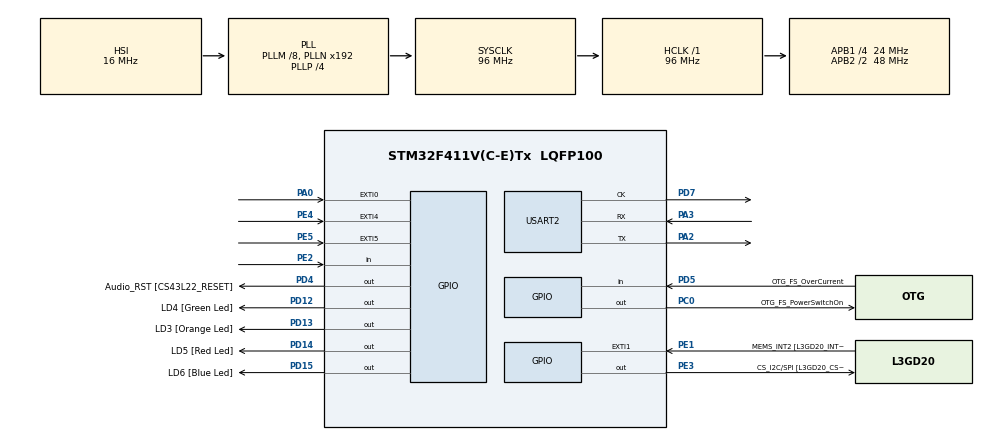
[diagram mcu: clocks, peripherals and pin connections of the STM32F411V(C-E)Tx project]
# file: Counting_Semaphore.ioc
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Mcu.Family=STM32F4
Mcu.Name=STM32F411V(C-E)Tx
Mcu.Package=LQFP100
NVIC.PriorityGroup=NVIC_PRIORITYGROUP_4
NVIC.TIM1_UP_TIM10_IRQn=true\:15\:0\:false\:false\:true\:false\:true\:true
NVIC.TimeBase=TIM1_UP_TIM10_IRQn
NVIC.TimeBaseIP=TIM10
PA0-WKUP.GPIO_ModeDefaultEXTI=GPIO_MODE_EVT_RISING
PA0-WKUP.Signal=GPXTI0
PA10.GPIO_Label=OTG_FS_ID
PA10.Signal=USB_OTG_FS_ID
PA11.GPIO_Label=OTG_FS_DM
PA11.Signal=USB_OTG_FS_DM
PA12.GPIO_Label=OTG_FS_DP
PA12.Signal=USB_OTG_FS_DP
PA13.GPIO_Label=SWDIO
PA13.Signal=SYS_JTMS-SWDIO
PA14.GPIO_Label=SWCLK
PA14.Signal=SYS_JTCK-SWCLK
PA2.Mode=Synchronous
PA2.Signal=USART2_TX
PA3.Mode=Synchronous
PA3.Signal=USART2_RX
PA4.GPIO_Label=I2S3_WS [CS43L22_LRCK]
PA4.GPIO_Mode=GPIO_MODE_AF_PP
PA4.GPIO_PuPd=GPIO_NOPULL
PA4.GPIO_Speed=GPIO_SPEED_FREQ_LOW
PA4.Signal=I2S3_WS
PA5.GPIO_Label=SPI1_SCK [L3GD20_SC/SPC]
PA5.Signal=SPI1_SCK
PA6.GPIO_Label=SPI1_MISO [L3GD20_AS0/SDO]
PA6.Signal=SPI1_MISO
PA7.GPIO_Label=SPI1_MOSI [L3GD20_SDA/SDI/SDO]
PA7.Signal=SPI1_MOSI
PA9.GPIO_Label=VBUS_FS
PA9.Signal=USB_OTG_FS_VBUS
PB10.GPIO_Label=CLK_IN [MP45DT02_CLK]
PB10.Signal=I2S2_CK
PB12.Signal=I2S2_WS
PB3.GPIO_Label=SWO
PB3.Signal=SYS_JTDO-SWO
PB6.GPIO_Label=Audio_SCL [CS43L22_SCL]
PB6.GPIO_Mode=GPIO_MODE_AF_OD
PB6.GPIO_PuPd=GPIO_NOPULL
PB6.GPIO_Speed=GPIO_SPEED_FREQ_LOW
PB6.Signal=I2C1_SCL
PB9.GPIO_Label=Audio_SDA [CS43L22_SDA]
PB9.GPIO_Mode=GPIO_MODE_AF_OD
PB9.GPIO_PuPd=GPIO_NOPULL
PB9.GPIO_Speed=GPIO_SPEED_FREQ_LOW
PB9.Signal=I2C1_SDA
PC0.GPIO_Label=OTG_FS_PowerSwitchOn
PC0.PinState=GPIO_PIN_SET
PC0.Signal=GPIO_Output
PC10.GPIO_Label=I2S3_SCK [CS43L22_SCLK]
PC10.GPIO_Mode=GPIO_MODE_AF_PP
PC10.GPIO_PuPd=GPIO_NOPULL
PC10.GPIO_Speed=GPIO_SPEED_FREQ_LOW
PC10.Signal=I2S3_CK
PC12.GPIO_Label=I2S3_SD [CS43L22_SDIN]
PC12.GPIO_Mode=GPIO_MODE_AF_PP
PC12.GPIO_PuPd=GPIO_NOPULL
PC12.GPIO_Speed=GPIO_SPEED_FREQ_LOW
PC12.Signal=I2S3_SD
PC14-OSC32_IN.GPIO_Label=PC14-OSC32_IN
PC14-OSC32_IN.Signal=RCC_OSC32_IN
PC15-OSC32_OUT.GPIO_Label=PC15-OSC32_OUT
PC15-OSC32_OUT.Signal=RCC_OSC32_OUT
PC3.GPIO_Label=PDM_OUT [MP45DT02_DOUT]
PC3.Signal=I2S2_SD
PC7.GPIO_Label=I2S3_MCK [CS43L22_MCLK]
PC7.GPIO_Mode=GPIO_MODE_AF_PP
PC7.GPIO_PuPd=GPIO_NOPULL
PC7.GPIO_Speed=GPIO_SPEED_FREQ_LOW
PC7.Signal=I2S3_MCK
PD12.GPIO_Label=LD4 [Green Led]
PD12.GPIO_PuPd=GPIO_NOPULL
PD12.GPIO_Speed=GPIO_SPEED_FREQ_LOW
PD12.Signal=GPIO_Output
PD13.GPIO_Label=LD3 [Orange Led]
PD13.GPIO_PuPd=GPIO_NOPULL
PD13.GPIO_Speed=GPIO_SPEED_FREQ_LOW
PD13.Signal=GPIO_Output
PD14.GPIO_Label=LD5 [Red Led]
PD14.GPIO_PuPd=GPIO_NOPULL
PD14.GPIO_Speed=GPIO_SPEED_FREQ_LOW
PD14.Signal=GPIO_Output
PD15.GPIO_Label=LD6 [Blue Led]
PD15.GPIO_PuPd=GPIO_NOPULL
PD15.GPIO_Speed=GPIO_SPEED_FREQ_LOW
PD15.Signal=GPIO_Output
PD4.GPIO_Label=Audio_RST [CS43L22_RESET]
PD4.Signal=GPIO_Output
PD5.GPIO_Label=OTG_FS_OverCurrent
PD5.Signal=GPIO_Input
PD7.Mode=Synchronous
PD7.Signal=USART2_CK
PE1.GPIO_Label=MEMS_INT2 [L3GD20_INT2]
PE1.GPIO_ModeDefaultEXTI=GPIO_MODE_EVT_RISING
PE1.Signal=GPXTI1
PE2.Signal=GPIO_Input
PE3.GPIO_Label=CS_I2C/SPI [L3GD20_CS_I2C/SPI]
PE3.Signal=GPIO_Output
PE4.GPIO_ModeDefaultEXTI=GPIO_MODE_EVT_RISING
PE4.Signal=GPXTI4
PE5.GPIO_ModeDefaultEXTI=GPIO_MODE_EVT_RISING
PE5.Signal=GPXTI5
PH0\ -\ OSC_IN.GPIO_Label=PH0-OSC_IN
PH0\ -\ OSC_IN.Signal=RCC_OSC_IN
PH1\ -\ OSC_OUT.GPIO_Label=PH1-OSC_OUT
PH1\ -\ OSC_OUT.Signal=RCC_OSC_OUT
ProjectManager.HeapSize=0x200
ProjectManager.StackSize=0x400
ProjectManager.TargetToolchain=STM32CubeIDE
RCC.48MHZClocksFreq_Value=48000000
RCC.AHBFreq_Value=96000000
RCC.APB1CLKDivider=RCC_HCLK_DIV4
RCC.APB1Freq_Value=24000000
RCC.APB1TimFreq_Value=48000000
RCC.APB2CLKDivider=RCC_HCLK_DIV2
RCC.APB2Freq_Value=48000000
RCC.APB2TimFreq_Value=96000000
RCC.CortexFreq_Value=96000000
RCC.HCLKFreq_Value=96000000
RCC.HSE_VALUE=8000000
RCC.HSI_VALUE=16000000
RCC.LSE_VALUE=32768
RCC.PLLI2SM=5
RCC.PLLI2SN=200
RCC.PLLM=8
RCC.PLLP=RCC_PLLP_DIV4
RCC.PLLQ=8
RCC.SYSCLKFreq_VALUE=96000000
RCC.SYSCLKSource=RCC_SYSCLKSOURCE_PLLCLK
RCC.VCOOutputFreq_Value=384000000
USART2.VirtualMode=VM_SYNC
VP_SYS_VS_tim10.Mode=TIM10
board=STM32F411E-DISCO

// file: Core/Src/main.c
/* USER CODE BEGIN Header */
/**
  ******************************************************************************
  * @file           : main.c
  * @brief          : Main program body
  ******************************************************************************
  * @attention
  *
  * Copyright (c) 2022 STMicroelectronics.
  * All rights reserved.
  *
  * This software is licensed under terms that can be found in the LICENSE file
  * in the root directory of this software component.
  * If no LICENSE file comes with this software, it is provided AS-IS.
  *
  ******************************************************************************
  */
/* USER CODE END Header */
#include "main.h"

#include <stdio.h>
#include <stdlib.h>
#include <string.h>

#include "FreeRTOS.h"
#include "task.h"
#include "semphr.h"
#include "queue.h"

/* USER CODE BEGIN PM */
#define DWT_CTRL    (*(volatile uint32_t*)0xE0001000)
/* USER CODE END PM */

 USART_HandleTypeDef husart2;

/* USER CODE BEGIN PV */
 char usr_msg[250]={0};

 TaskHandle_t xTaskHandleM=NULL;
 TaskHandle_t xTaskHandleE=NULL;

/* USER CODE END PV */

void SystemClock_Config(void);
static void MX_GPIO_Init(void);
static void MX_USART2_Init(void);
/* USER CODE BEGIN PFP */
void printmsg(char *msg);

static void vHandlerTask( void *pvParameters );
static void vPeriodicTask( void *pvParameters );

static void prvSetupSoftwareInterrupt();
void vSoftwareInterruptHandler( void );

void prvReaddTaskToReadyList(void)
{

}
/* USER CODE END PFP */

xSemaphoreHandle xCountingSemaphore;

int main(void)
{

  /* MCU Configuration--------------------------------------------------------*/

  /* Reset of all peripherals, Initializes the Flash interface and the Systick. */
  HAL_Init();

  /* Configure the system clock */
  SystemClock_Config();

  /* Initialize all configured peripherals */
  MX_GPIO_Init();
  MX_USART2_Init();
  /* USER CODE BEGIN 2 */
	//enable CYCCNT register
	DWT_CTRL |= (1 << 0);

	sprintf(usr_msg,"Demo of usage of counting semaphore\r\n");
	printmsg(usr_msg);

    /* Create semaphore counting max count = 10 */
    xCountingSemaphore = xSemaphoreCreateCounting( 10, 0 );

	/* Check the semaphore was created successfully. */
	if( xCountingSemaphore != NULL )
	{
    	/* Enable the button interrupt and set its priority. */
    	prvSetupSoftwareInterrupt();

		/* Create the 'handler' task.  This is the task that will be synchronized
		with the interrupt.  The handler task is created with a high priority to
		ensure it runs immediately after the interrupt exits.  In this case a
		priority of 3 is chosen. */
		xTaskCreate( vHandlerTask, "Handler", 500, NULL, 1, NULL );

		/* Create the task that will periodically generate a software interrupt.
		This is created with a priority below the handler task to ensure it will
		get preempted each time the handler task exist the Blocked state. */
		xTaskCreate( vPeriodicTask, "Periodic", 500, NULL, 3, NULL );

		/* Start the scheduler so the created tasks start executing. */
		vTaskStartScheduler();
	}

  /* USER CODE END 2 */

  /* Infinite loop */
  while (1)
  {

  }
}

static void vHandlerTask( void *pvParameters )
{
	/* As per most tasks, this task is implemented within an infinite loop. */
	for( ;; )
	{
		/* Use the semaphore to wait for the event.  The semaphore was created
		before the scheduler was started so before this task ran for the first
		time.  The task blocks indefinitely meaning this function call will only
		return once the semaphore has been successfully obtained - so there is no
		need to check the returned value. */
		xSemaphoreTake( xCountingSemaphore, portMAX_DELAY );

		/* To get here the event must have occurred.  Process the event (in this
		case we just print out a message). */
		sprintf(usr_msg, "Handler task - Processing event.\r\n");
		printmsg(usr_msg);
	}
}

static void vPeriodicTask( void *pvParameters )
{
	/* As per most tasks, this task is implemented within an infinite loop. */
	for( ;; )
	{
		/* This task is just used to 'simulate' an interrupt.  This is done by
		periodically generating a software interrupt. */
		vTaskDelay( pdMS_TO_TICKS(500) );

		/* Generate the interrupt, printing a message both before hand and
		afterwards so the sequence of execution is evident from the output. */
        sprintf(usr_msg, "Periodic task - Pending the interrupt.\r\n" );
    	printmsg(usr_msg);

        //pend the interrupt
        NVIC_SetPendingIRQ(EXTI15_10_IRQn);

        sprintf(usr_msg, "Periodic task - Resuming.\r\n" );
        printmsg(usr_msg);

	}
}

static void prvSetupSoftwareInterrupt()
{
	/* here were simulating the button interrupt by manually setting the interrupt enable bit in the NVIC enable register*/

	/* The interrupt service routine uses an (interrupt safe) FreeRTOS API
	function so the interrupt priority must be at or below the priority defined
	by configSYSCALL_INTERRUPT_PRIORITY. */

	NVIC_SetPriority( EXTI15_10_IRQn, configLIBRARY_MAX_SYSCALL_INTERRUPT_PRIORITY );

	/* Enable the interrupt. */
	NVIC_EnableIRQ( EXTI15_10_IRQn );
}
/*-----------------------------------------------------------*/

void EXTI15_10_IRQHandler( void )
{
	portBASE_TYPE xHigherPriorityTaskWoken = pdFALSE;

	/* 'Give' the semaphore multiple times.  The first will unblock the handler
	task, the following 'gives' are to demonstrate that the semaphore latches
	the events to allow the handler task to process them in turn without any
	events getting lost.  This simulates multiple interrupts being taken by the
	processor, even though in this case the events are simulated within a single
	interrupt occurrence.*/
	sprintf(usr_msg,"==>Button_Handler\r\n");
	printmsg(usr_msg);

	xSemaphoreGiveFromISR( xCountingSemaphore, &xHigherPriorityTaskWoken );
	xSemaphoreGiveFromISR( xCountingSemaphore, &xHigherPriorityTaskWoken );
	xSemaphoreGiveFromISR( xCountingSemaphore, &xHigherPriorityTaskWoken );
	xSemaphoreGiveFromISR( xCountingSemaphore, &xHigherPriorityTaskWoken );
	xSemaphoreGiveFromISR( xCountingSemaphore, &xHigherPriorityTaskWoken );

    /* Clear the software interrupt bit using the interrupt controllers  */

    /* Giving the semaphore may have unblocked a task - if it did and the
    unblocked task has a priority equal to or above the currently executing
    task then xHigherPriorityTaskWoken will have been set to pdTRUE and
    portEND_SWITCHING_ISR() will force a context switch to the newly unblocked
    higher priority task.
    NOTE: The syntax for forcing a context switch within an ISR varies between
    FreeRTOS ports.  The portEND_SWITCHING_ISR() macro is provided as part of
    the Cortex M3 port layer for this purpose.  taskYIELD() must never be called
    from an ISR! */
    portEND_SWITCHING_ISR( xHigherPriorityTaskWoken );
}

void printmsg(char *msg)
{
	for(uint32_t i=0; i < strlen(msg); i++)
	{
		HAL_USART_Transmit(&husart2, (uint8_t*)&msg[i], strlen(&msg[i]), HAL_MAX_DELAY);
	}

}

void SystemClock_Config(void)
{
  RCC_OscInitTypeDef RCC_OscInitStruct = {0};
  RCC_ClkInitTypeDef RCC_ClkInitStruct = {0};

  /** Configure the main internal regulator output voltage
  */
  __HAL_RCC_PWR_CLK_ENABLE();
  __HAL_PWR_VOLTAGESCALING_CONFIG(PWR_REGULATOR_VOLTAGE_SCALE1);

  /** Initializes the RCC Oscillators according to the specified parameters
  * in the RCC_OscInitTypeDef structure.
  */
  RCC_OscInitStruct.OscillatorType = RCC_OSCILLATORTYPE_HSI;
  RCC_OscInitStruct.HSIState = RCC_HSI_ON;
  RCC_OscInitStruct.HSICalibrationValue = RCC_HSICALIBRATION_DEFAULT;
  RCC_OscInitStruct.PLL.PLLState = RCC_PLL_ON;
  RCC_OscInitStruct.PLL.PLLSource = RCC_PLLSOURCE_HSI;
  RCC_OscInitStruct.PLL.PLLM = 8;
  RCC_OscInitStruct.PLL.PLLN = 192;
  RCC_OscInitStruct.PLL.PLLP = RCC_PLLP_DIV4;
  RCC_OscInitStruct.PLL.PLLQ = 8;
  if (HAL_RCC_OscConfig(&RCC_OscInitStruct) != HAL_OK)
  {
    Error_Handler();
  }

  /** Initializes the CPU, AHB and APB buses clocks
  */
  RCC_ClkInitStruct.ClockType = RCC_CLOCKTYPE_HCLK|RCC_CLOCKTYPE_SYSCLK
                              |RCC_CLOCKTYPE_PCLK1|RCC_CLOCKTYPE_PCLK2;
  RCC_ClkInitStruct.SYSCLKSource = RCC_SYSCLKSOURCE_PLLCLK;
  RCC_ClkInitStruct.AHBCLKDivider = RCC_SYSCLK_DIV1;
  RCC_ClkInitStruct.APB1CLKDivider = RCC_HCLK_DIV4;
  RCC_ClkInitStruct.APB2CLKDivider = RCC_HCLK_DIV2;

  if (HAL_RCC_ClockConfig(&RCC_ClkInitStruct, FLASH_LATENCY_3) != HAL_OK)
  {
    Error_Handler();
  }
}

static void MX_USART2_Init(void)
{

  husart2.Instance = USART2;
  husart2.Init.BaudRate = 115200;
  husart2.Init.WordLength = USART_WORDLENGTH_8B;
  husart2.Init.StopBits = USART_STOPBITS_1;
  husart2.Init.Parity = USART_PARITY_NONE;
  husart2.Init.Mode = USART_MODE_TX_RX;
  husart2.Init.CLKPolarity = USART_POLARITY_LOW;
  husart2.Init.CLKPhase = USART_PHASE_1EDGE;
  husart2.Init.CLKLastBit = USART_LASTBIT_DISABLE;
  if (HAL_USART_Init(&husart2) != HAL_OK)
  {
    Error_Handler();
  }

}

static void MX_GPIO_Init(void)
{
  GPIO_InitTypeDef GPIO_InitStruct = {0};

  /* GPIO Ports Clock Enable */
  __HAL_RCC_GPIOE_CLK_ENABLE();
  __HAL_RCC_GPIOC_CLK_ENABLE();
  __HAL_RCC_GPIOH_CLK_ENABLE();
  __HAL_RCC_GPIOA_CLK_ENABLE();
  __HAL_RCC_GPIOB_CLK_ENABLE();
  __HAL_RCC_GPIOD_CLK_ENABLE();

  /*Configure GPIO pin Output Level */
  HAL_GPIO_WritePin(CS_I2C_SPI_GPIO_Port, CS_I2C_SPI_Pin, GPIO_PIN_RESET);

  /*Configure GPIO pin Output Level */
  HAL_GPIO_WritePin(OTG_FS_PowerSwitchOn_GPIO_Port, OTG_FS_PowerSwitchOn_Pin, GPIO_PIN_SET);

  /*Configure GPIO pin Output Level */
  HAL_GPIO_WritePin(GPIOD, LD4_Pin|LD3_Pin|LD5_Pin|LD6_Pin
                          |Audio_RST_Pin, GPIO_PIN_RESET);

  /*Configure GPIO pin : PE2 */
  GPIO_InitStruct.Pin = GPIO_PIN_2;
  GPIO_InitStruct.Mode = GPIO_MODE_INPUT;
  GPIO_InitStruct.Pull = GPIO_NOPULL;
  HAL_GPIO_Init(GPIOE, &GPIO_InitStruct);

  /*Configure GPIO pin : CS_I2C_SPI_Pin */
  GPIO_InitStruct.Pin = CS_I2C_SPI_Pin;
  GPIO_InitStruct.Mode = GPIO_MODE_OUTPUT_PP;
  GPIO_InitStruct.Pull = GPIO_NOPULL;
  GPIO_InitStruct.Speed = GPIO_SPEED_FREQ_LOW;
  HAL_GPIO_Init(CS_I2C_SPI_GPIO_Port, &GPIO_InitStruct);

  /*Configure GPIO pins : PE4 PE5 MEMS_INT2_Pin */
  GPIO_InitStruct.Pin = GPIO_PIN_4|GPIO_PIN_5|MEMS_INT2_Pin;
  GPIO_InitStruct.Mode = GPIO_MODE_EVT_RISING;
  GPIO_InitStruct.Pull = GPIO_NOPULL;
  HAL_GPIO_Init(GPIOE, &GPIO_InitStruct);

  /*Configure GPIO pin : OTG_FS_PowerSwitchOn_Pin */
  GPIO_InitStruct.Pin = OTG_FS_PowerSwitchOn_Pin;
  GPIO_InitStruct.Mode = GPIO_MODE_OUTPUT_PP;
  GPIO_InitStruct.Pull = GPIO_NOPULL;
  GPIO_InitStruct.Speed = GPIO_SPEED_FREQ_LOW;
  HAL_GPIO_Init(OTG_FS_PowerSwitchOn_GPIO_Port, &GPIO_InitStruct);

  /*Configure GPIO pin : PDM_OUT_Pin */
  GPIO_InitStruct.Pin = PDM_OUT_Pin;
  GPIO_InitStruct.Mode = GPIO_MODE_AF_PP;
  GPIO_InitStruct.Pull = GPIO_NOPULL;
  GPIO_InitStruct.Speed = GPIO_SPEED_FREQ_LOW;
  GPIO_InitStruct.Alternate = GPIO_AF5_SPI2;
  HAL_GPIO_Init(PDM_OUT_GPIO_Port, &GPIO_InitStruct);

  /*Configure GPIO pin : PA0 */
  GPIO_InitStruct.Pin = GPIO_PIN_0;
  GPIO_InitStruct.Mode = GPIO_MODE_EVT_RISING;
  GPIO_InitStruct.Pull = GPIO_NOPULL;
  HAL_GPIO_Init(GPIOA, &GPIO_InitStruct);

  /*Configure GPIO pin : I2S3_WS_Pin */
  GPIO_InitStruct.Pin = I2S3_WS_Pin;
  GPIO_InitStruct.Mode = GPIO_MODE_AF_PP;
  GPIO_InitStruct.Pull = GPIO_NOPULL;
  GPIO_InitStruct.Speed = GPIO_SPEED_FREQ_LOW;
  GPIO_InitStruct.Alternate = GPIO_AF6_SPI3;
  HAL_GPIO_Init(I2S3_WS_GPIO_Port, &GPIO_InitStruct);

  /*Configure GPIO pins : SPI1_SCK_Pin SPI1_MISO_Pin SPI1_MOSI_Pin */
  GPIO_InitStruct.Pin = SPI1_SCK_Pin|SPI1_MISO_Pin|SPI1_MOSI_Pin;
  GPIO_InitStruct.Mode = GPIO_MODE_AF_PP;
  GPIO_InitStruct.Pull = GPIO_NOPULL;
  GPIO_InitStruct.Speed = GPIO_SPEED_FREQ_VERY_HIGH;
  GPIO_InitStruct.Alternate = GPIO_AF5_SPI1;
  HAL_GPIO_Init(GPIOA, &GPIO_InitStruct);

  /*Configure GPIO pins : CLK_IN_Pin PB12 */
  GPIO_InitStruct.Pin = CLK_IN_Pin|GPIO_PIN_12;
  GPIO_InitStruct.Mode = GPIO_MODE_AF_PP;
  GPIO_InitStruct.Pull = GPIO_NOPULL;
  GPIO_InitStruct.Speed = GPIO_SPEED_FREQ_LOW;
  GPIO_InitStruct.Alternate = GPIO_AF5_SPI2;
  HAL_GPIO_Init(GPIOB, &GPIO_InitStruct);

  /*Configure GPIO pins : LD4_Pin LD3_Pin LD5_Pin LD6_Pin
                           Audio_RST_Pin */
  GPIO_InitStruct.Pin = LD4_Pin|LD3_Pin|LD5_Pin|LD6_Pin
                          |Audio_RST_Pin;
  GPIO_InitStruct.Mode = GPIO_MODE_OUTPUT_PP;
  GPIO_InitStruct.Pull = GPIO_NOPULL;
  GPIO_InitStruct.Speed = GPIO_SPEED_FREQ_LOW;
  HAL_GPIO_Init(GPIOD, &GPIO_InitStruct);

  /*Configure GPIO pins : I2S3_MCK_Pin I2S3_SCK_Pin I2S3_SD_Pin */
  GPIO_InitStruct.Pin = I2S3_MCK_Pin|I2S3_SCK_Pin|I2S3_SD_Pin;
  GPIO_InitStruct.Mode = GPIO_MODE_AF_PP;
  GPIO_InitStruct.Pull = GPIO_NOPULL;
  GPIO_InitStruct.Speed = GPIO_SPEED_FREQ_LOW;
  GPIO_InitStruct.Alternate = GPIO_AF6_SPI3;
  HAL_GPIO_Init(GPIOC, &GPIO_InitStruct);

  /*Configure GPIO pin : VBUS_FS_Pin */
  GPIO_InitStruct.Pin = VBUS_FS_Pin;
  GPIO_InitStruct.Mode = GPIO_MODE_INPUT;
  GPIO_InitStruct.Pull = GPIO_NOPULL;
  HAL_GPIO_Init(VBUS_FS_GPIO_Port, &GPIO_InitStruct);

  /*Configure GPIO pins : OTG_FS_ID_Pin OTG_FS_DM_Pin OTG_FS_DP_Pin */
  GPIO_InitStruct.Pin = OTG_FS_ID_Pin|OTG_FS_DM_Pin|OTG_FS_DP_Pin;
  GPIO_InitStruct.Mode = GPIO_MODE_AF_PP;
  GPIO_InitStruct.Pull = GPIO_NOPULL;
  GPIO_InitStruct.Speed = GPIO_SPEED_FREQ_VERY_HIGH;
  GPIO_InitStruct.Alternate = GPIO_AF10_OTG_FS;
  HAL_GPIO_Init(GPIOA, &GPIO_InitStruct);

  /*Configure GPIO pin : OTG_FS_OverCurrent_Pin */
  GPIO_InitStruct.Pin = OTG_FS_OverCurrent_Pin;
  GPIO_InitStruct.Mode = GPIO_MODE_INPUT;
  GPIO_InitStruct.Pull = GPIO_NOPULL;
  HAL_GPIO_Init(OTG_FS_OverCurrent_GPIO_Port, &GPIO_InitStruct);

  /*Configure GPIO pins : Audio_SCL_Pin Audio_SDA_Pin */
  GPIO_InitStruct.Pin = Audio_SCL_Pin|Audio_SDA_Pin;
  GPIO_InitStruct.Mode = GPIO_MODE_AF_OD;
  GPIO_InitStruct.Pull = GPIO_NOPULL;
  GPIO_InitStruct.Speed = GPIO_SPEED_FREQ_LOW;
  GPIO_InitStruct.Alternate = GPIO_AF4_I2C1;
  HAL_GPIO_Init(GPIOB, &GPIO_InitStruct);

}

void HAL_TIM_PeriodElapsedCallback(TIM_HandleTypeDef *htim)
{
  if (htim->Instance == TIM10) {
    HAL_IncTick();
  }
}

void Error_Handler(void)
{
  __disable_irq();
  while (1)
  {
  }
}
